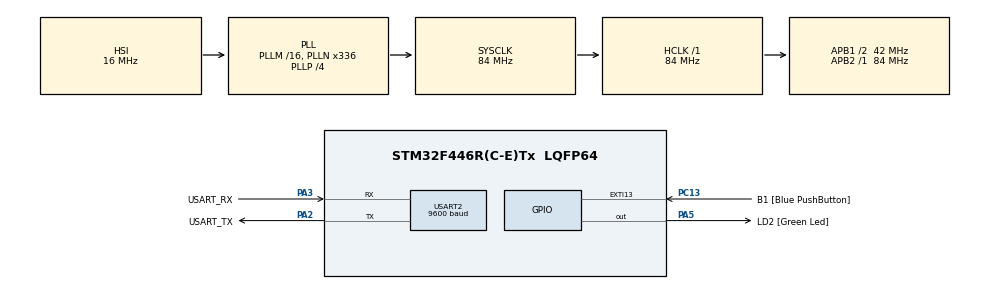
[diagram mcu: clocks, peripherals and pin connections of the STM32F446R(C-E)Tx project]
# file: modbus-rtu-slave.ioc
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Mcu.Family=STM32F4
Mcu.Name=STM32F446R(C-E)Tx
Mcu.Package=LQFP64
NVIC.PriorityGroup=NVIC_PRIORITYGROUP_0
NVIC.USART2_IRQn=true\:0\:0\:false\:false\:true\:true\:true\:true
PA13.GPIO_Label=TMS
PA13.Mode=Serial_Wire
PA13.Signal=SYS_JTMS-SWDIO
PA14.GPIO_Label=TCK
PA14.Mode=Serial_Wire
PA14.Signal=SYS_JTCK-SWCLK
PA2.GPIO_Label=USART_TX
PA2.Mode=Asynchronous
PA2.Signal=USART2_TX
PA3.GPIO_Label=USART_RX
PA3.Mode=Asynchronous
PA3.Signal=USART2_RX
PA5.GPIO_Label=LD2 [Green Led]
PA5.Signal=GPIO_Output
PB3.GPIO_Label=SWO
PB3.Signal=SYS_JTDO-SWO
PC13.GPIO_Label=B1 [Blue PushButton]
PC13.GPIO_ModeDefaultEXTI=GPIO_MODE_IT_FALLING
PC13.Signal=GPXTI13
PC14-OSC32_IN.Mode=LSE-External-Oscillator
PC14-OSC32_IN.Signal=RCC_OSC32_IN
PC15-OSC32_OUT.Mode=LSE-External-Oscillator
PC15-OSC32_OUT.Signal=RCC_OSC32_OUT
PH0-OSC_IN.Mode=HSE-External-Oscillator
PH0-OSC_IN.Signal=RCC_OSC_IN
PH1-OSC_OUT.Mode=HSE-External-Oscillator
PH1-OSC_OUT.Signal=RCC_OSC_OUT
ProjectManager.HeapSize=0x200
ProjectManager.StackSize=0x400
ProjectManager.TargetToolchain=STM32CubeIDE
RCC.48MHZClocksFreq_Value=84000000
RCC.AHBFreq_Value=84000000
RCC.APB1CLKDivider=RCC_HCLK_DIV2
RCC.APB1Freq_Value=42000000
RCC.APB1TimFreq_Value=84000000
RCC.APB2Freq_Value=84000000
RCC.APB2TimFreq_Value=84000000
RCC.CortexFreq_Value=84000000
RCC.FLatency-AdvancedSettings=FLASH_LATENCY_2
RCC.HCLKFreq_Value=84000000
RCC.HSE_VALUE=8000000
RCC.HSI_VALUE=16000000
RCC.PLLN=336
RCC.PLLP=RCC_PLLP_DIV4
RCC.SYSCLKFreq_VALUE=84000000
RCC.SYSCLKSource=RCC_SYSCLKSOURCE_PLLCLK
RCC.USBFreq_Value=168000000
RCC.VCOOutputFreq_Value=336000000
USART2.BaudRate=9600
USART2.VirtualMode=VM_ASYNC
board=NUCLEO-F446RE

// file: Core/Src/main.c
/* USER CODE BEGIN Header */
/**
  ******************************************************************************
  * @file           : main.c
  * @brief          : Main program body
  ******************************************************************************
  * @attention
  *
  * Copyright (c) 2022 STMicroelectronics.
  * All rights reserved.
  *
  * This software is licensed under terms that can be found in the LICENSE file
  * in the root directory of this software component.
  * If no LICENSE file comes with this software, it is provided AS-IS.
  *
  ******************************************************************************
  */
/* USER CODE END Header */
#include "main.h"

/* USER CODE BEGIN Includes */
#include "MB_Processor.h"
#include "CRC_Processing.h"
/* USER CODE END Includes */

 UART_HandleTypeDef huart2;

void SystemClock_Config(void);
static void MX_GPIO_Init(void);
static void MX_USART2_UART_Init(void);

/* USER CODE BEGIN 0 */

unsigned int MBRegisterCount(void)
{
	return (data_in[5]|(data_in[4]<<8));
}

void AppendDatatoMBRegister(unsigned int StAddr,unsigned int count, unsigned int *inreg, volatile unsigned char *outreg)
{
	for (unsigned char c=0; c<count; c++)
	{
			*(outreg+3+c*2) = (unsigned char)(*(inreg+StAddr+c) >> 8);	//MSB IN HIGHER BYTE
			*(outreg+3+(c*2+1)) = (unsigned char)(*(inreg+StAddr+c));	//LSB IN LOWER BYTE
	}
}

unsigned int MBStartAddress(void)	//Return requested start address
{
	return (data_in[3]|(data_in[2]<<8));
}

void MBSendData(unsigned char count)	//Send final data over UART
{
	for (unsigned char c=0; c<count;c++)
	{
		while( !( USART2->SR & (1<<7u) ) ) {};	//wait till transmit buffer is empty
		USART2->DR = data_in[c];
	}
}

void AppendCRCtoMBRegister(unsigned char packtop)	//crc is calculated from slave id to last data byte
{
	unsigned short crcvalue=0;
	crcvalue=CRC16(data_in,packtop);
	data_in[packtop+1] =(unsigned char)(crcvalue);			//lower byte at higher register
	data_in[packtop+2] =(unsigned char)(crcvalue>>8);		//higher byte at lower register

	ResponseFrameSize = packtop + 3;
}

void MBException(unsigned char exceptionCode)	//Exception code
{
	data_in[1]|=0x80; //setting MSB of the function code (the exception flag)
	data_in[2]=exceptionCode; //Exceptioncode. Also the last byte containing dat
	ResponseFrameSize = 3;	// 3 bytes to send. No crc calculation.
}
void MBProcessRegisters(unsigned char fcCode)
{
	//First check what is the count of registers requested
	unsigned int RegCount = MBRegisterCount();

	//| SLAVE_ID | FUNCTION_CODE | RETURN BYTES COUNT | DATA      | CRC     |
	//| 1 BYTE   |  1 BYTE       |  1 BYTE            | N*2 BYTES | 2 BYTES |
	//So our final requested data should fit in above 256 size, so data should be max 256-6 bytes
	//As a safeguard we are also checking with maximum limits of query as per modbus function (m584 controller)
	if((RegCount >= 1u) &
		(RegCount*2 <= ((sizeof(data_in)/sizeof(data_in[0])) - 5u)) &
		(RegCount <= fc3_HoldingRegMax))
	{
		//to check if the requested start and end addresses are available in out controller
		//Get to know the starting address of the requested data
		unsigned int StAddress = MBStartAddress();
		unsigned int EndAddress = StAddress + RegCount - 1;

		//We will simply check if the end address is inside the size of our holding register
		if(EndAddress<=(sizeof(HoldingRegisters))/sizeof(HoldingRegisters[0]))
		{
			//Process the request
			data_in[2]=(unsigned char)(RegCount*2);	//fill the byte count in the data array
			AppendDatatoMBRegister(StAddress,RegCount,HoldingRegisters,data_in);	//fill data in the data register
			AppendCRCtoMBRegister(2+RegCount*2);
			MBSendData(ResponseFrameSize);
		}
		else
		{
			MBException(0x02);//Exception code 02 = ILLEGAL DATA ADDRESS
			MBSendData(ResponseFrameSize);
		}
	}
	else
	{
		MBException(0x03);//Exception code 03 = ILLEGAL DATA VALUE
		MBSendData(ResponseFrameSize);
	}
}

/* USER CODE END 0 */

int main(void)
{

  /* MCU Configuration--------------------------------------------------------*/

  /* Reset of all peripherals, Initializes the Flash interface and the Systick. */
  HAL_Init();

  /* Configure the system clock */
  SystemClock_Config();

  /* Initialize all configured peripherals */
  MX_GPIO_Init();
  MX_USART2_UART_Init();

  /* Infinite loop */
  while (1)
  {

    /* USER CODE BEGIN 3 */
	  if((DataPos>=8u) & ((data_in[0]==MY_SLAVE_ID)))
		  {
			DataPos=0;
			//STEP 2: Check function code
			switch(data_in[1])
			{
				case 0x03:
				{
					//checking if requested register count fits in data buffer (256 size - 6)
					MBProcessRegisters(data_in[1]);
				}
				break;
				default:
				{
					MBException(0x01); //Illegal function code 01
					MBSendData(ResponseFrameSize);
				}
				break;
			}
		  }
	  }

  //}
  /* USER CODE END 3 */
}

void SystemClock_Config(void)
{
  RCC_OscInitTypeDef RCC_OscInitStruct = {0};
  RCC_ClkInitTypeDef RCC_ClkInitStruct = {0};

  /** Configure the main internal regulator output voltage
  */
  __HAL_RCC_PWR_CLK_ENABLE();
  __HAL_PWR_VOLTAGESCALING_CONFIG(PWR_REGULATOR_VOLTAGE_SCALE3);

  /** Initializes the RCC Oscillators according to the specified parameters
  * in the RCC_OscInitTypeDef structure.
  */
  RCC_OscInitStruct.OscillatorType = RCC_OSCILLATORTYPE_HSI;
  RCC_OscInitStruct.HSIState = RCC_HSI_ON;
  RCC_OscInitStruct.HSICalibrationValue = RCC_HSICALIBRATION_DEFAULT;
  RCC_OscInitStruct.PLL.PLLState = RCC_PLL_ON;
  RCC_OscInitStruct.PLL.PLLSource = RCC_PLLSOURCE_HSI;
  RCC_OscInitStruct.PLL.PLLM = 16;
  RCC_OscInitStruct.PLL.PLLN = 336;
  RCC_OscInitStruct.PLL.PLLP = RCC_PLLP_DIV4;
  RCC_OscInitStruct.PLL.PLLQ = 2;
  RCC_OscInitStruct.PLL.PLLR = 2;
  if (HAL_RCC_OscConfig(&RCC_OscInitStruct) != HAL_OK)
  {
    Error_Handler();
  }

  /** Initializes the CPU, AHB and APB buses clocks
  */
  RCC_ClkInitStruct.ClockType = RCC_CLOCKTYPE_HCLK|RCC_CLOCKTYPE_SYSCLK
                              |RCC_CLOCKTYPE_PCLK1|RCC_CLOCKTYPE_PCLK2;
  RCC_ClkInitStruct.SYSCLKSource = RCC_SYSCLKSOURCE_PLLCLK;
  RCC_ClkInitStruct.AHBCLKDivider = RCC_SYSCLK_DIV1;
  RCC_ClkInitStruct.APB1CLKDivider = RCC_HCLK_DIV2;
  RCC_ClkInitStruct.APB2CLKDivider = RCC_HCLK_DIV1;

  if (HAL_RCC_ClockConfig(&RCC_ClkInitStruct, FLASH_LATENCY_2) != HAL_OK)
  {
    Error_Handler();
  }
}

static void MX_USART2_UART_Init(void)
{

  huart2.Instance = USART2;
  huart2.Init.BaudRate = 9600;
  huart2.Init.WordLength = UART_WORDLENGTH_8B;
  huart2.Init.StopBits = UART_STOPBITS_1;
  huart2.Init.Parity = UART_PARITY_NONE;
  huart2.Init.Mode = UART_MODE_TX_RX;
  huart2.Init.HwFlowCtl = UART_HWCONTROL_NONE;
  huart2.Init.OverSampling = UART_OVERSAMPLING_16;
  if (HAL_UART_Init(&huart2) != HAL_OK)
  {
    Error_Handler();
  }
  /* USER CODE BEGIN USART2_Init 2 */
/* Enable USART 2 Enable Intterupt */
  USART2->CR1 |= (1u<<5);
  /* USER CODE END USART2_Init 2 */

}

static void MX_GPIO_Init(void)
{
  GPIO_InitTypeDef GPIO_InitStruct = {0};

  /* GPIO Ports Clock Enable */
  __HAL_RCC_GPIOC_CLK_ENABLE();
  __HAL_RCC_GPIOH_CLK_ENABLE();
  __HAL_RCC_GPIOA_CLK_ENABLE();
  __HAL_RCC_GPIOB_CLK_ENABLE();

  /*Configure GPIO pin Output Level */
  HAL_GPIO_WritePin(LD2_GPIO_Port, LD2_Pin, GPIO_PIN_RESET);

  /*Configure GPIO pin : B1_Pin */
  GPIO_InitStruct.Pin = B1_Pin;
  GPIO_InitStruct.Mode = GPIO_MODE_IT_FALLING;
  GPIO_InitStruct.Pull = GPIO_NOPULL;
  HAL_GPIO_Init(B1_GPIO_Port, &GPIO_InitStruct);

  /*Configure GPIO pin : LD2_Pin */
  GPIO_InitStruct.Pin = LD2_Pin;
  GPIO_InitStruct.Mode = GPIO_MODE_OUTPUT_PP;
  GPIO_InitStruct.Pull = GPIO_NOPULL;
  GPIO_InitStruct.Speed = GPIO_SPEED_FREQ_LOW;
  HAL_GPIO_Init(LD2_GPIO_Port, &GPIO_InitStruct);

}

void Error_Handler(void)
{
  __disable_irq();
  while (1)
  {
  }
}
